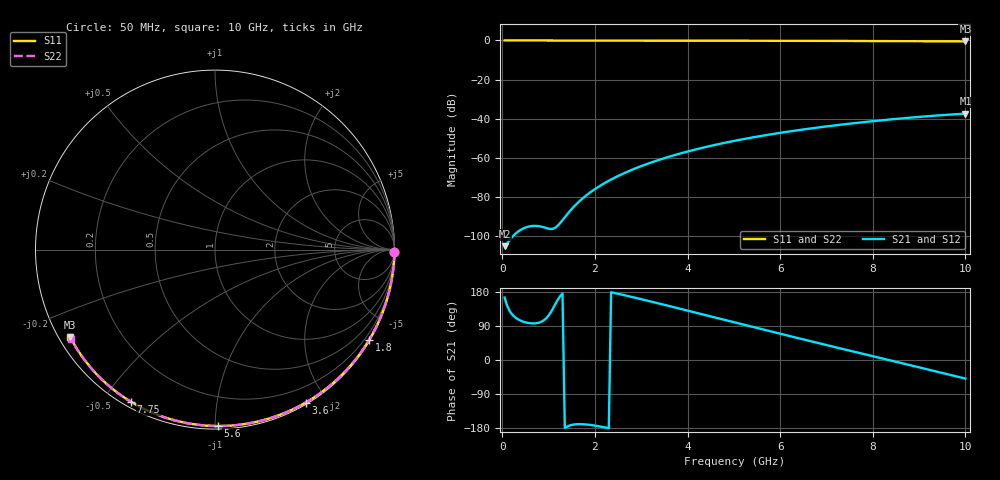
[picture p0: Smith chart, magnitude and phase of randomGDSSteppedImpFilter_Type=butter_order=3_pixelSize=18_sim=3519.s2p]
! freq	dB(S11)	phase(S11)	dB(S12)	phase(S12)
!  dB(S21)	phase(S21)	dB(S22)	phase(S22)
!S-par simulation data
#  GHz  S  DB  R 50
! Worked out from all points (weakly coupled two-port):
!   200 points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, 50 MHz to 10 GHz, reference 50 ohm
!   highest |S21| = -37.39 dB at 10 GHz (marker M1); lowest = -105.1 dB at 50 MHz (marker M2)
!   lowest |S11| = -0.5 dB at 10 GHz (marker M3), VSWR 33.52, Z = 1.61 - j13.9 ohm
!   |S11| at or under -10 dB: nowhere
!   |S22| runs from -0.5 to 0.0 dB; largest |S21 - S12| = 0
!   S11 on the Smith chart (normalised r, x): 50 MHz: open; 1.8 GHz: 0.03, -3.68; 3.6 GHz: 0.02, -1.75; 5.6 GHz: 0.02, -1.01; 7.75 GHz: 0.02, -0.59; 10 GHz: 0.03, -0.28
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0.05  -0.00 -0.9  -105.09 164.8  -105.09 164.8  -0.00 -0.9
0.45  -0.01 -7.7  -96.09 101.2  -96.09 101.2  -0.01 -7.7
0.9  -0.02 -15.4  -95.49 105.0  -95.49 105.0  -0.02 -15.4
1.3  -0.03 -22.1  -91.81 175.3  -91.81 175.3  -0.03 -22.1
1.75  -0.04 -29.6  -80.38 -169.6  -80.38 -169.6  -0.04 -29.6
1.8  -0.04 -30.4  -79.41 -170.0  -79.41 -170.0  -0.04 -30.5
1.95  -0.04 -32.9  -76.76 -172.2  -76.76 -172.2  -0.04 -32.9
2.1  -0.05 -35.4  -74.43 -175.2  -74.43 -175.2  -0.05 -35.4
2.3  -0.05 -38.6  -71.67 -179.9  -71.67 -179.9  -0.05 -38.7
2.5  -0.05 -41.9  -69.24 174.8  -69.24 174.8  -0.05 -41.9
2.9  -0.06 -48.3  -65.10 163.5  -65.10 163.5  -0.06 -48.4
3.4  -0.07 -56.2  -60.87 148.6  -60.87 148.6  -0.07 -56.3
3.6  -0.08 -59.4  -59.40 142.6  -59.40 142.6  -0.08 -59.4
4.3  -0.10 -70.1  -54.95 121.3  -54.95 121.3  -0.10 -70.1
5.05  -0.13 -81.2  -51.11 98.3  -51.11 98.3  -0.12 -81.2
5.6  -0.15 -89.2  -48.73 81.5  -48.73 81.5  -0.15 -89.1
6.15  -0.17 -97.0  -46.66 64.8  -46.66 64.8  -0.17 -96.9
6.7  -0.20 -104.6  -44.83 48.4  -44.83 48.4  -0.20 -104.5
7.75  -0.28 -118.8  -41.86 17.4  -41.86 17.4  -0.27 -118.6
8.35  -0.33 -126.9  -40.42 -0.2  -40.42 -0.2  -0.32 -126.5
9.2  -0.41 -138.2  -38.67 -25.2  -38.67 -25.2  -0.41 -137.7
10  -0.52 -148.9  -37.39 -49.0  -37.39 -49.0  -0.50 -148.2
